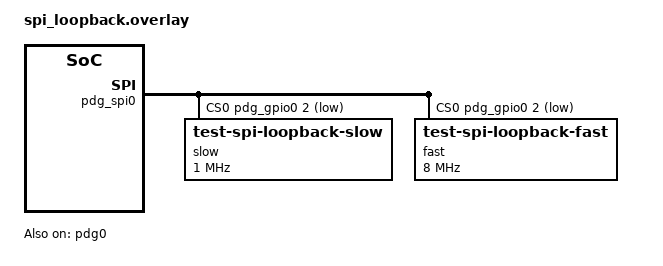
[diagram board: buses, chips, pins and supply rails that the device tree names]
/*
 * Copyright (c) 2026 Open Device Partnership and Contributors
 *
 * SPDX-License-Identifier: MIT
 *
 * M5 phase 4 topology: the upstream tests/drivers/spi/spi_loopback suite.
 *
 * Distinct from every other M5 topology overlay -- it is the only one that
 * declares SPI children. The only shared fragment is fixture-identity.dtsi.
 *
 * THE INTERRUPT-WITNESS PROPERTY IS DELIBERATELY OMITTED, AND MUST STAY
 * OMITTED. Do not add the upstream loopback suite's optional CS-loopback GPIO
 * property to this overlay. This is normative (acceptance spec §2.4; design
 * §7.2 is superseded by D5 and plan §10.1).
 *
 * Why: upstream spi.c:140 guards the complete interrupt-driven witness
 * implementation behind that property. Leaving it out selects the no-op helpers
 * at 242-246, and spi_loopback_gpio_cs_loopback_init() becomes a trivial
 * success. Declaring it would reach interrupt configuration at :233 and
 * callback registration at :240 -- and this controller leaves GPIO interrupts
 * as -ENOSYS by design, so the suite would fail at setup for a reason that has
 * nothing to do with the data path. The bespoke acceptance image supplies the
 * chip-select evidence instead, electrically, via the pin 2 to pin 3 jumper.
 */

#include <zephyr/dt-bindings/gpio/gpio.h>

#include "fixture-identity.dtsi"

&pdg0 {
	status = "okay";
};

&pdg_gpio0 {
	status = "okay";
};

&pdg_spi0 {
	status = "okay";

	/*
	 * One chip select, firmware user GPIO index 2, active low. Both children
	 * carry reg = <0>, i.e. both select this same entry: a child's reg is a
	 * plain index into cs-gpios, and duplicate indices are permitted
	 * deliberately (CS-contract §8.17).
	 */
	cs-gpios = <&pdg_gpio0 2 GPIO_ACTIVE_LOW>;

	/*
	 * spi.c resolves these with DT_COMPAT_GET_ANY_STATUS_OKAY(), and
	 * loopback_specs[] is {slow, fast} with spec_names[] {"SLOW","FAST"}.
	 * BOTH log markers "Testing loopback spec: SLOW" and
	 * "Testing loopback spec: FAST" are required: a malformed spec array --
	 * one child, or two children resolving to the same node -- yields a run
	 * that executes half the cases while still reporting all-green.
	 *
	 * These two spi-max-frequency literals MUST equal m5-slow-frequency-hz
	 * and m5-fast-frequency-hz in acceptance/acceptance.overlay. The timing
	 * multiplier is derived from measurements taken at exactly these
	 * operating points; measuring anywhere else derives it from the wrong
	 * ratio and fails only intermittently, much later (test design §8.5).
	 *
	 * fast@0 is held at 8 MHz on purpose. The multiplier is USB-latency
	 * dominated -- wall time is roughly four USB round trips regardless of
	 * clock rate, while the theoretical minimum shrinks as frequency rises --
	 * so raising this frequency raises the required multiplier roughly
	 * proportionally. 8 MHz keeps the requirement inside the expected 64-128
	 * band. If a multiplier above 256 is ever needed, LOWER this frequency
	 * and remeasure; never raise the multiplier past 256, which would
	 * recreate a vacuous timing test.
	 */
	slow@0 {
		compatible = "test-spi-loopback-slow";
		reg = <0>;
		spi-max-frequency = <1000000>;
	};

	fast@0 {
		compatible = "test-spi-loopback-fast";
		reg = <0>;
		spi-max-frequency = <8000000>;
	};
};
